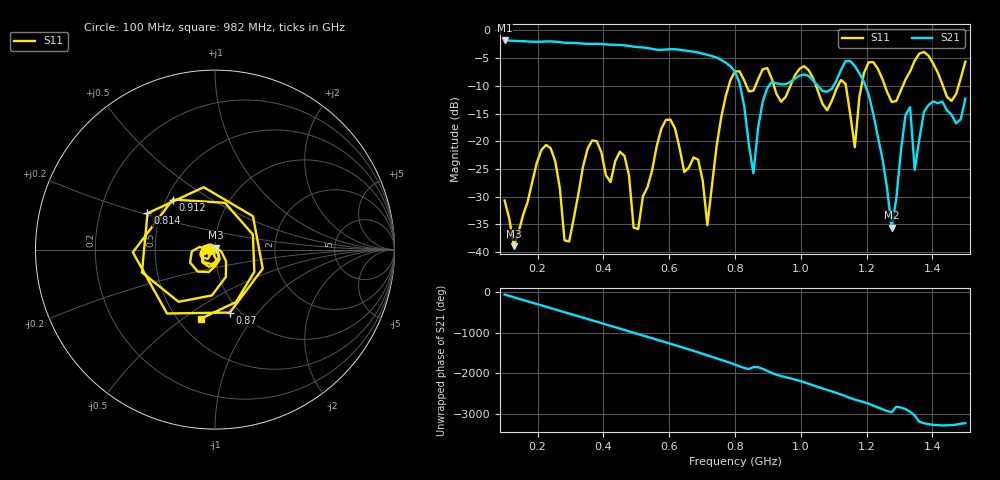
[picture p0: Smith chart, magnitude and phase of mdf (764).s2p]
! NanoVNA-App
! Date: 2025-09-25 15:44:22
! Start: 100MHz Stop: 1,5GHz Points: 101
! S-Parameter data: F S11 S21 S12 S22
# Hz S RI R 50
!  Frequency  S11_Real  S11_Imag  S21_Real  S21_Imag  S12_Real  S12_Imag  S22_Real  S22_Imag
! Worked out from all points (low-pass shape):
!   101 points, 100 MHz to 1.5 GHz, reference 50 ohm
!   highest |S21| = -1.80 dB at 100 MHz (marker M1); lowest = -35.6 dB at 1.276 GHz (marker M2)
!   |S21| within 3 dB of the highest: start of sweep to 739.2 MHz
!   lowest |S11| = -39.0 dB at 128 MHz (marker M3), VSWR 1.02, Z = 50.3 + j1.08 ohm
!   |S11| at or under -10 dB: start of sweep to 781.1 MHz; 918.4 MHz to 968.3 MHz (49.93 MHz wide, 5.29 % of centre); 1.046 GHz to 1.113 GHz (66.88 MHz wide, 6.2 % of centre)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
!   S12 and S22 are empty: the file has one direction only
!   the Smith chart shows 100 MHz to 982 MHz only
!   S11 on the Smith chart (normalised r, x): 100 MHz: 0.94, -0.01; 814 MHz: 0.42, +0.21; 870 MHz: 0.90, -0.73; 912 MHz: 0.54, +0.35; 982 MHz: 0.64, -0.59
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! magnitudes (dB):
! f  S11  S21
! 100 MHz  -30.7  -1.8
! 128 MHz  -39.0  -1.9
! 212 MHz  -21.6  -2.0
! 282 MHz  -37.9  -2.2
! 338 MHz  -24.7  -2.4
! 464 MHz  -22.6  -2.7
! 506 MHz  -35.9  -3.0
! 576 MHz  -17.8  -3.5
! 716 MHz  -35.2  -4.4
! 800 MHz  -7.4  -7.4
! 814 MHz  -7.4  -9.5
! 856 MHz  -10.9  -25.8
! 870 MHz  -8.9  -17.7
! 912 MHz  -8.8  -9.3
! 982 MHz  -8.1  -8.7
! 1.038 GHz  -8.7  -9.1
! 1.164 GHz  -21.1  -6.4
! 1.178 GHz  -12.0  -7.7
! 1.276 GHz  -12.9  -35.6
! 1.318 GHz  -8.9  -15.3
! 1.346 GHz  -5.5  -25.2
! 1.5 GHz  -5.6  -12.3
